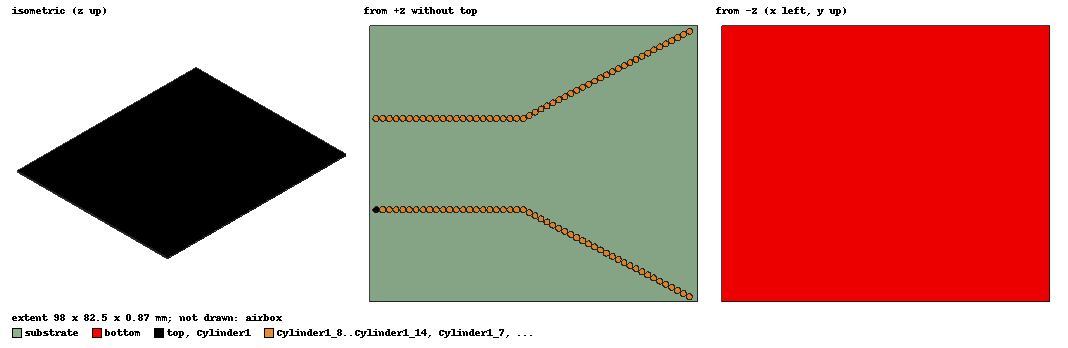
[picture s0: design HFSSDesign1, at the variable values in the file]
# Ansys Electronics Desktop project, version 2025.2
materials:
  vacuum: permittivity=1
  Rogers RT/duroid 5880 (tm): permittivity=2.2 dielectric_loss_tangent=0.0009
  copper: permeability=0.999991 conductivity=58000000

design HFSSDesign1 (HFSS, HFSS Modal Network, model units mm)
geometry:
  substrate [Rogers RT/duroid 5880 (tm)] = box(corner=(0mm, 0mm, 0.035mm), size=((97+1) mm, 82.5mm, 0.8mm))
  Cylinder1 [copper] = cylinder(axis=Z, base_centre=(1.9mm, 27.5mm, 0.035mm), radius=0.9mm, height=0.8mm)
  Cylinder2 [copper] = cylinder(axis=Z, base_centre=(1.9mm, 54.75mm, 0.035mm), radius=0.9mm, height=0.8mm)
  Cylinder1_1..Cylinder1_21 [copper] = Cylinder1.duplicate_along_line(step=(2mm, 0mm, 0mm), total=22)
  Cylinder2_1..Cylinder2_21 [copper] = Cylinder2.duplicate_along_line(step=(2mm, 0mm, 0mm), total=22)
  Cylinder3 [copper] = cylinder(axis=Z, base_centre=(45.9mm, 27.5mm, 0.035mm), radius=0.9mm, height=0.8mm)
  Cylinder4 [copper] = cylinder(axis=Z, base_centre=(45.9mm, 54.75mm, 0.035mm), radius=0.9mm, height=0.8mm)
  Cylinder3_1..Cylinder3_28 [copper] = Cylinder3.duplicate_along_line(step=(1.773mm, -0.929mm, 0mm), total=29)
  Cylinder4_1..Cylinder4_28 [copper] = Cylinder4.duplicate_along_line(step=(1.774mm, 0.929mm, 0mm), total=29)
  airbox [vacuum] = box(corner=(-19mm, -19mm, -19mm), size=(135mm, 120.5mm, 38.8mm))
  waveport = rectangle(corner=(0mm, 27.5mm, 0.035mm), y_size=27.25mm, z_size=(0.8+0.035) mm)
  top [copper] = box(corner=(0mm, 0mm, (0.8+0.035) mm), size=((97+1) mm, 82.5mm, 0.035mm))
  bottom [copper] = box(corner=(0mm, 0mm, 0mm), size=((97+1) mm, 82.5mm, 0.035mm))
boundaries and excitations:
  Rad1: Radiation Faces=airbox.face(all 6)
  1: Lumped Port Objects=waveport LumpedPortType=Modal Modes{Mode1{IntLine{(0, 41.125, 0.035) -> (0, 41.125, 0.87)} CharImp=Zpi}} Impedance=50ohm
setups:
  Setup1: HfssDriven Frequency=8.18GHz MaxDeltaS=0.02 MaximumPasses=10 MinimumPasses=1 MinimumConvergedPasses=1 PercentRefinement=30 BasisOrder=1 PortAccuracy=2 DrivenSolverType="Direct Solver"
    sweep Sweep: 3GHz to 9GHz, 401 points; Type=Fast SaveFields SaveRadFields
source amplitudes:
  1:1: 1W 0deg
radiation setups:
  Infinite Sphere1: Infinite Sphere Theta=-180deg..180deg step 2deg Phi=-180deg..180deg step 2deg
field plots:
  Mag_Jsurf1: Jsurf over top.face(all 6) on Setup1 : LastAdaptive at Freq=8.18GHz Phase=0deg
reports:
  S Parameter Plot1: dB(S(1,1)) vs Freq on Setup1 : Sweep; markers MX1 at x=8.1845748e+09
  VSWR Plot1: VSWR(1) vs Freq on Setup1 : Sweep
  Gain Plot1: dB(GainTotal) vs Theta on Setup1 : LastAdaptive, Infinite Sphere1 [Phi=0deg,90deg Freq=8.18GHz]
